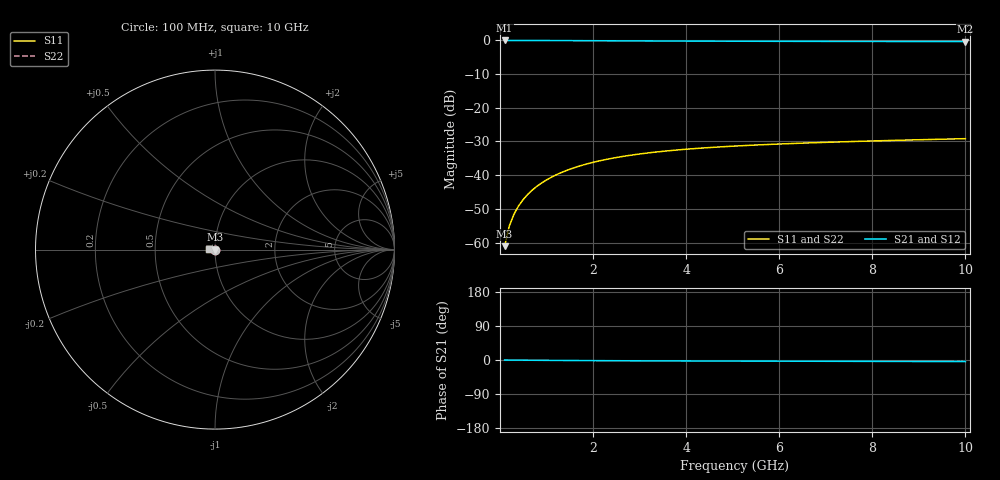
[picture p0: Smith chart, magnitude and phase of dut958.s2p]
! Touchstone file exported from HFSS 2024.1.0
!  File:  C:/UserFiles/LocalFiles/RDL_TSV_Batchsim/temp_TSV1_958_1779949811.aedt
!  Generated:  02:37:22 PM May 28, 2026
!  Design:  TSV1
!  Project:  temp_TSV1_958_1779949811
!  Setup:  Setup1
!  Solution:  Sweep
! Variables:
!  dtsv = 9.14um
!  hbump = 3um
!  htsv = 62.81um
!  lrdl = 252.1521522um
!  p = 40
!  p1 = 49.41um
!  t = 500um
!  trdl = 3um
!  wrdl = 24.89489489um
# GHz S MA R 50.000000
! Terminal data exported
! Port[1] = TSV22_T1
! Port[2] = TSV22_T2
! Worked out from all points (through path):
!   100 points, 100 MHz to 10 GHz, reference 50 ohm
!   highest |S21| = 0.00 dB at 100 MHz (marker M1); lowest = -0.3 dB at 10 GHz (marker M2)
!   lowest |S11| = -61.1 dB at 100 MHz (marker M3), VSWR 1.00, Z = 50 - j0.0874 ohm
!   |S11| at or under -10 dB: start of sweep to end of sweep
!   |S22| runs from -61.1 to -29.2 dB; largest |S21 - S12| = 1.1e-14
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0.1  0.0008825 -82.0  0.9998 -0.1  0.9998 -0.1  0.0008825 -82.0
! Gamma 0 0 0 0
! Port Impedance 50 0 50 0
0.2  0.001752 -88.6  0.9997 -0.2  0.9997 -0.2  0.001752 -88.6
0.3  0.002626 -92.1  0.9996 -0.3  0.9996 -0.3  0.002626 -92.1
0.4  0.003495 -94.8  0.9993 -0.4  0.9993 -0.4  0.003495 -94.8
0.5  0.004357 -97.2  0.9991 -0.5  0.9991 -0.5  0.004357 -97.2
0.6  0.005209 -99.4  0.9988 -0.6  0.9988 -0.6  0.005209 -99.4
0.7  0.006051 -101.5  0.9984 -0.7  0.9984 -0.7  0.006051 -101.5
0.8  0.006879 -103.5  0.998 -0.7  0.998 -0.7  0.006879 -103.5
0.9  0.007694 -105.5  0.9975 -0.8  0.9975 -0.8  0.007694 -105.5
1.1  0.009277 -109.2  0.9965 -1.0  0.9965 -1.0  0.009277 -109.2
1.4  0.01152 -114.6  0.9948 -1.2  0.9948 -1.2  0.01152 -114.6
1.6  0.01292 -118.0  0.9935 -1.4  0.9935 -1.4  0.01292 -118.0
1.8  0.01425 -121.3  0.9921 -1.5  0.9921 -1.5  0.01425 -121.3
2.1  0.01609 -125.9  0.9901 -1.7  0.9901 -1.7  0.01609 -125.9
2.5  0.01827 -131.7  0.9873 -1.9  0.9873 -1.9  0.01827 -131.7
2.9  0.02018 -137.0  0.9847 -2.1  0.9847 -2.1  0.02018 -137.0
3.4  0.02222 -143.0  0.9817 -2.3  0.9817 -2.3  0.02222 -143.0
4.2  0.02485 -151.4  0.9775 -2.6  0.9775 -2.6  0.02485 -151.4
5.1  0.02715 -159.5  0.9738 -2.9  0.9738 -2.9  0.02715 -159.5
6.7  0.03022 -171.2  0.969 -3.3  0.969 -3.3  0.03022 -171.2
8.4  0.03274 178.9  0.9657 -3.8  0.9657 -3.8  0.03274 178.9
10  0.03482 171.0  0.9635 -4.2  0.9635 -4.2  0.03482 171.0
